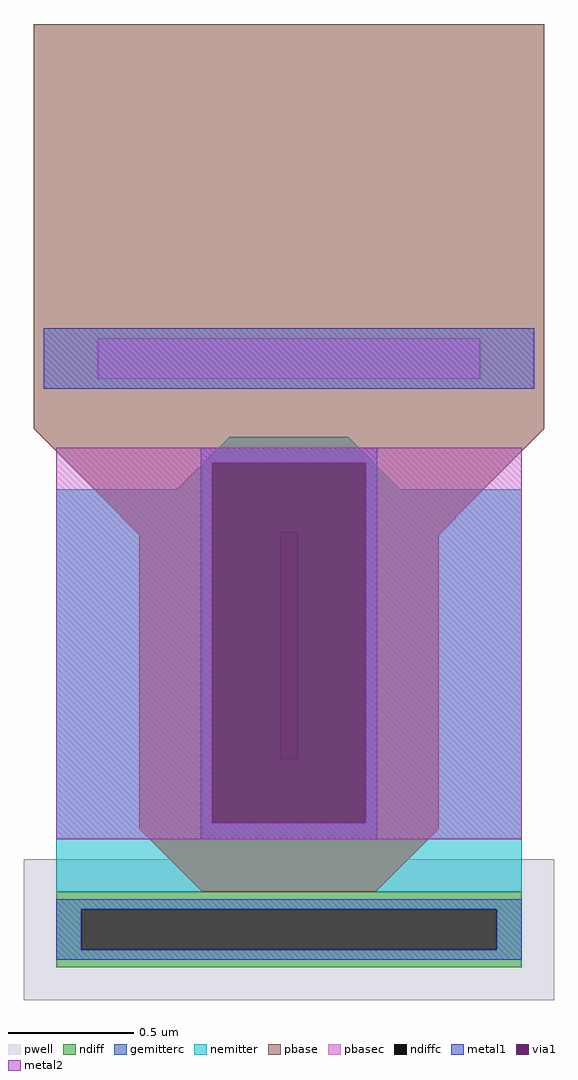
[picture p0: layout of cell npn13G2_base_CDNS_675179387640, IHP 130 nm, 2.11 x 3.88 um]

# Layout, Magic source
magic
tech ihp-sg13g2
magscale 1 2
<< pwell >>
rect -211 -196 -95 -170
tri -95 -196 -69 -170 sw
tri 69 -196 95 -170 se
rect 95 -196 211 -170
rect -211 -282 211 -196
<< pbase >>
rect -203 172 203 494
tri -203 116 -147 172 ne
rect -147 116 147 172
tri 147 116 203 172 nw
tri -147 88 -119 116 ne
rect -119 -146 119 116
tri 119 88 147 116 nw
tri -119 -170 -95 -146 ne
rect -95 -170 95 -146
tri 95 -170 119 -146 nw
tri -95 -196 -69 -170 ne
rect -69 -196 69 -170
tri 69 -196 95 -170 nw
<< ndiff >>
rect -185 -210 185 -196
rect -185 -242 -165 -210
rect 165 -242 185 -210
rect -185 -256 185 -242
<< pbasec >>
rect -152 212 152 244
<< nemitter >>
tri -89 124 -47 166 se
rect -47 124 47 166
tri 47 124 89 166 sw
rect -185 90 185 124
rect -185 -90 -7 90
rect 7 -90 185 90
rect -185 -196 185 -90
<< gemitterc >>
rect -7 -90 7 90
<< ndiffc >>
rect -165 -242 165 -210
<< metal1 >>
rect -195 204 195 252
rect -70 145 70 157
rect -70 -141 -61 145
rect 61 -141 70 145
rect -70 -154 70 -141
rect -185 -210 185 -202
rect -185 -242 -165 -210
rect 165 -242 185 -210
rect -185 -250 185 -242
<< via1 >>
rect -61 -141 61 145
<< metal2 >>
rect -185 145 185 157
rect -185 -141 -61 145
rect 61 -141 185 145
rect -185 -154 185 -141
<< labels >>
flabel comment s 3 -462 3 -462 0 FreeSans 700 0 0 0 npn13G2
<< end >>
